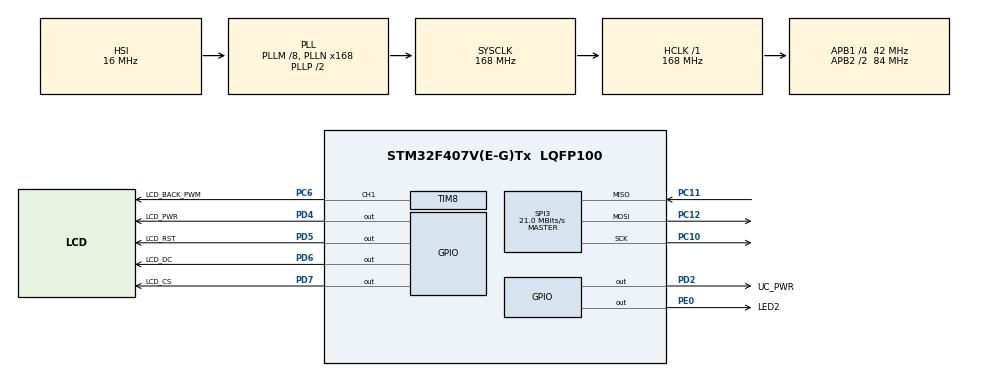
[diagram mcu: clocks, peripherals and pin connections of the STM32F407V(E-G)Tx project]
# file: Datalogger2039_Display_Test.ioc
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Mcu.Family=STM32F4
PH0-OSC_IN.Signal=RCC_OSC_IN
RCC.CortexFreq_Value=168000000
SPI3.Direction=SPI_DIRECTION_2LINES
SPI3.VirtualType=VM_MASTER
PC10.Signal=SPI3_SCK
PC11.Signal=SPI3_MISO
PC12.Signal=SPI3_MOSI
VP_IWDG_VS_IWDG.Mode=IWDG_Activate
PC6.Signal=S_TIM8_CH1
PC10.Mode=Full_Duplex_Master
PC6.GPIO_Label=LCD_BACK_PWM
PD7.Signal=GPIO_Output
PD2.GPIO_Speed=GPIO_SPEED_FREQ_VERY_HIGH
PD5.Signal=GPIO_Output
RCC.APB1CLKDivider=RCC_HCLK_DIV4
PD6.GPIO_Label=LCD_DC
RCC.SYSCLKSource=RCC_SYSCLKSOURCE_PLLCLK
ProjectManager.StackSize=0x400
PE0.GPIO_Speed=GPIO_SPEED_FREQ_VERY_HIGH
VP_TIM7_VS_ClockSourceINT.Mode=Enable_Timer
ProjectManager.TargetToolchain=STM32CubeIDE
RCC.HCLKFreq_Value=168000000
TIM8.Channel-PWM\ Generation1\ CH1=TIM_CHANNEL_1
PD4.Signal=GPIO_Output
RCC.APB2TimFreq_Value=168000000
TIM7.Period=90
RCC.LSE_VALUE=32768
RCC.AHBFreq_Value=168000000
PH0-OSC_IN.Mode=HSE-External-Oscillator
RCC.HSE_VALUE=8000000
SH.S_TIM8_CH1.0=TIM8_CH1,PWM Generation1 CH1
PC12.Mode=Full_Duplex_Master
TIM7.Prescaler=16799
board=custom
RCC.VCOOutputFreq_Value=336000000
PD7.GPIO_Speed=GPIO_SPEED_FREQ_VERY_HIGH
RCC.APB2Freq_Value=84000000
SPI3.CalculateBaudRate=21.0 MBits/s
PD4.GPIO_Label=LCD_PWR
PD4.GPIO_Speed=GPIO_SPEED_FREQ_VERY_HIGH
PH1-OSC_OUT.Signal=RCC_OSC_OUT
Mcu.Name=STM32F407V(E-G)Tx
PE0.Signal=GPIO_Output
PD7.GPIO_Label=LCD_CS
TIM8.Period=1023
PH1-OSC_OUT.Mode=HSE-External-Oscillator
RCC.48MHZClocksFreq_Value=84000000
RCC.SYSCLKFreq_VALUE=168000000
Mcu.Package=LQFP100
SPI3.Mode=SPI_MODE_MASTER
PD5.GPIO_Label=LCD_RST
ProjectManager.HeapSize=0x200
PC11.Mode=Full_Duplex_Master
PE0.GPIO_Label=LED2
RCC.HSI_VALUE=16000000
NVIC.PriorityGroup=NVIC_PRIORITYGROUP_4
TIM8.Prescaler=1249
RCC.APB2CLKDivider=RCC_HCLK_DIV2
RCC.PLLM=8
RCC.PLLN=168
IWDG.Prescaler=IWDG_PRESCALER_32
RCC.APB1TimFreq_Value=84000000
PD5.GPIO_Speed=GPIO_SPEED_FREQ_VERY_HIGH
PD2.Signal=GPIO_Output
PD6.Signal=GPIO_Output
RCC.APB1Freq_Value=42000000
PD6.GPIO_Speed=GPIO_SPEED_FREQ_VERY_HIGH
PC6.GPIO_Speed=GPIO_SPEED_FREQ_VERY_HIGH
NVIC.TIM7_IRQn=true\:0\:0\:false\:false\:true\:true\:true
PD2.GPIO_Label=UC_PWR

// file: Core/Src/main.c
/* USER CODE BEGIN Header */
/**
 ******************************************************************************
 * @file           : main.c
 * @brief          : Main program body
 ******************************************************************************
 * @attention
 *
 * <h2><center>&copy; Copyright (c) 2021 STMicroelectronics.
 * All rights reserved.</center></h2>
 *
 * This software component is licensed by ST under BSD 3-Clause license,
 * the "License"; You may not use this file except in compliance with the
 * License. You may obtain a copy of the License at:
 *                        opensource.org/licenses/BSD-3-Clause
 *
 ******************************************************************************
 */

/*
 * Datalogger 2039 - Display test - ILI9341 SPI 320x240
 *
 * LCD Backlight PWM: 131Hz (TIMER 8)
 */

/* USER CODE END Header */
#include "main.h"

/* USER CODE BEGIN Includes */
#include "IWDG_Delay.h"
#include "ILI9341.h"
#include "SCREEN.h"
#include <stdio.h>
#include "logo.h"
#include "DS3231.h"
/* USER CODE END Includes */

IWDG_HandleTypeDef hiwdg;

SPI_HandleTypeDef hspi3;

TIM_HandleTypeDef htim7;
TIM_HandleTypeDef htim8;

/* USER CODE BEGIN PV */
DS3231_Time_t tm1;

extern int lcd_bright_set;
extern int lcd_bright_new;
extern int lcd_bright_old;

extern int lcd_bright_max;
extern int lcd_bright_mid;
extern int lcd_bright_min;
extern int lcd_bright_off;
extern int lcd_bright_for_logo;
/* USER CODE END PV */

void SystemClock_Config(void);
static void MX_GPIO_Init(void);
static void MX_SPI3_Init(void);
static void MX_TIM8_Init(void);
static void MX_TIM7_Init(void);
static void MX_IWDG_Init(void);
/* USER CODE BEGIN PFP */
void print_clock(uint16_t x, uint16_t y, FontDef font, uint16_t color,
		uint16_t bgcolor);

extern void IWDG_delay_ms(uint32_t delay);
extern void IWDG_reset(void);
extern void user_pwm_setvalue(uint16_t value);
extern void draw_logo(const unsigned short *logo);
/* USER CODE END PFP */

/* USER CODE BEGIN 0 */
void print_clock(uint16_t x, uint16_t y, FontDef font, uint16_t color,
		uint16_t bgcolor) {
	char str[80];
	sprintf(str, "%02d:%02d:%02d", tm1.hours, tm1.minutes, tm1.seconds);
	ILI9341_WriteString(x, y, str, font, color, bgcolor);
}
/* USER CODE END 0 */

int main(void)
{

  /* MCU Configuration--------------------------------------------------------*/

  /* Reset of all peripherals, Initializes the Flash interface and the Systick. */
  HAL_Init();

  /* Configure the system clock */
  SystemClock_Config();

  /* Initialize all configured peripherals */
  MX_GPIO_Init();
  MX_SPI3_Init();
  MX_TIM8_Init();
  MX_TIM7_Init();
  MX_IWDG_Init();
  /* USER CODE BEGIN 2 */
	HAL_TIM_Base_Start_IT(&htim7);

	HAL_GPIO_WritePin(UC_PWR_GPIO_Port, UC_PWR_Pin, GPIO_PIN_SET); // uC Power On

	HAL_GPIO_WritePin(LCD_PWR_GPIO_Port, LCD_PWR_Pin, GPIO_PIN_SET);
	IWDG_delay_ms(100);

	ILI9341_Unselect();
	IWDG_delay_ms(5);
	ILI9341_Init();

	ILI9341_Unselect();
	IWDG_delay_ms(5);
	ILI9341_Init();

	user_pwm_setvalue(0);

	ILI9341_FillScreen(ILI9341_BLACK);

	draw_logo(STM32F4_logo);

	lcd_bright_set = lcd_bright_for_logo;

	while (lcd_bright_old != lcd_bright_set) {
		IWDG_delay_ms(1);
	}

	lcd_bright_set = lcd_bright_off;

	while (lcd_bright_old != lcd_bright_set) {
		IWDG_delay_ms(1);
	}

	ILI9341_FillScreen(ILI9341_BLACK);

	lcd_bright_set = lcd_bright_max;

	while (lcd_bright_old != lcd_bright_set) {
		IWDG_delay_ms(1);
	}

	tm1.date = 21;
	tm1.day = 1;
	tm1.month = 6;
	tm1.year = 21;
	tm1.hours = 12;
	tm1.minutes = 00;
	tm1.seconds = 00;

	ILI9341_FillScreen(ILI9341_RED);
	IWDG_delay_ms(500);

	ILI9341_FillScreen(ILI9341_GREEN);
	IWDG_delay_ms(500);

	ILI9341_FillScreen(ILI9341_BLUE);
	IWDG_delay_ms(500);

	draw_logo(STM32F4_logo);
  /* USER CODE END 2 */

  /* Infinite loop */
	while (1) {

    /* USER CODE BEGIN 3 */
		print_clock(220, 5, Font_11x18, ILI9341_BLACK,
		ILI9341_WHITE);
		int seconds_old = tm1.seconds;
		while (seconds_old == tm1.seconds) {
			IWDG_delay_ms(100);
		}

		if (tm1.seconds == 20) {
			lcd_bright_set = lcd_bright_mid;
		} else if (tm1.seconds == 40) {
			lcd_bright_set = lcd_bright_min;
		} else if (tm1.seconds == 0) {
			lcd_bright_set = lcd_bright_max;
		}
	}
  /* USER CODE END 3 */
}

void SystemClock_Config(void)
{
  RCC_OscInitTypeDef RCC_OscInitStruct = {0};
  RCC_ClkInitTypeDef RCC_ClkInitStruct = {0};

  /** Configure the main internal regulator output voltage
  */
  __HAL_RCC_PWR_CLK_ENABLE();
  __HAL_PWR_VOLTAGESCALING_CONFIG(PWR_REGULATOR_VOLTAGE_SCALE1);
  /** Initializes the RCC Oscillators according to the specified parameters
  * in the RCC_OscInitTypeDef structure.
  */
  RCC_OscInitStruct.OscillatorType = RCC_OSCILLATORTYPE_HSI|RCC_OSCILLATORTYPE_LSI;
  RCC_OscInitStruct.HSIState = RCC_HSI_ON;
  RCC_OscInitStruct.HSICalibrationValue = RCC_HSICALIBRATION_DEFAULT;
  RCC_OscInitStruct.LSIState = RCC_LSI_ON;
  RCC_OscInitStruct.PLL.PLLState = RCC_PLL_ON;
  RCC_OscInitStruct.PLL.PLLSource = RCC_PLLSOURCE_HSI;
  RCC_OscInitStruct.PLL.PLLM = 8;
  RCC_OscInitStruct.PLL.PLLN = 168;
  RCC_OscInitStruct.PLL.PLLP = RCC_PLLP_DIV2;
  RCC_OscInitStruct.PLL.PLLQ = 4;
  if (HAL_RCC_OscConfig(&RCC_OscInitStruct) != HAL_OK)
  {
    Error_Handler();
  }
  /** Initializes the CPU, AHB and APB buses clocks
  */
  RCC_ClkInitStruct.ClockType = RCC_CLOCKTYPE_HCLK|RCC_CLOCKTYPE_SYSCLK
                              |RCC_CLOCKTYPE_PCLK1|RCC_CLOCKTYPE_PCLK2;
  RCC_ClkInitStruct.SYSCLKSource = RCC_SYSCLKSOURCE_PLLCLK;
  RCC_ClkInitStruct.AHBCLKDivider = RCC_SYSCLK_DIV1;
  RCC_ClkInitStruct.APB1CLKDivider = RCC_HCLK_DIV4;
  RCC_ClkInitStruct.APB2CLKDivider = RCC_HCLK_DIV2;

  if (HAL_RCC_ClockConfig(&RCC_ClkInitStruct, FLASH_LATENCY_5) != HAL_OK)
  {
    Error_Handler();
  }
}

static void MX_IWDG_Init(void)
{

  hiwdg.Instance = IWDG;
  hiwdg.Init.Prescaler = IWDG_PRESCALER_32;
  hiwdg.Init.Reload = 4095;
  if (HAL_IWDG_Init(&hiwdg) != HAL_OK)
  {
    Error_Handler();
  }

}

static void MX_SPI3_Init(void)
{

  /* SPI3 parameter configuration*/
  hspi3.Instance = SPI3;
  hspi3.Init.Mode = SPI_MODE_MASTER;
  hspi3.Init.Direction = SPI_DIRECTION_2LINES;
  hspi3.Init.DataSize = SPI_DATASIZE_8BIT;
  hspi3.Init.CLKPolarity = SPI_POLARITY_LOW;
  hspi3.Init.CLKPhase = SPI_PHASE_1EDGE;
  hspi3.Init.NSS = SPI_NSS_SOFT;
  hspi3.Init.BaudRatePrescaler = SPI_BAUDRATEPRESCALER_2;
  hspi3.Init.FirstBit = SPI_FIRSTBIT_MSB;
  hspi3.Init.TIMode = SPI_TIMODE_DISABLE;
  hspi3.Init.CRCCalculation = SPI_CRCCALCULATION_DISABLE;
  hspi3.Init.CRCPolynomial = 10;
  if (HAL_SPI_Init(&hspi3) != HAL_OK)
  {
    Error_Handler();
  }

}

static void MX_TIM7_Init(void)
{

  TIM_MasterConfigTypeDef sMasterConfig = {0};

  htim7.Instance = TIM7;
  htim7.Init.Prescaler = 16799;
  htim7.Init.CounterMode = TIM_COUNTERMODE_UP;
  htim7.Init.Period = 90;
  htim7.Init.AutoReloadPreload = TIM_AUTORELOAD_PRELOAD_DISABLE;
  if (HAL_TIM_Base_Init(&htim7) != HAL_OK)
  {
    Error_Handler();
  }
  sMasterConfig.MasterOutputTrigger = TIM_TRGO_RESET;
  sMasterConfig.MasterSlaveMode = TIM_MASTERSLAVEMODE_DISABLE;
  if (HAL_TIMEx_MasterConfigSynchronization(&htim7, &sMasterConfig) != HAL_OK)
  {
    Error_Handler();
  }

}

static void MX_TIM8_Init(void)
{

  TIM_MasterConfigTypeDef sMasterConfig = {0};
  TIM_OC_InitTypeDef sConfigOC = {0};
  TIM_BreakDeadTimeConfigTypeDef sBreakDeadTimeConfig = {0};

  htim8.Instance = TIM8;
  htim8.Init.Prescaler = 1249;
  htim8.Init.CounterMode = TIM_COUNTERMODE_UP;
  htim8.Init.Period = 1023;
  htim8.Init.ClockDivision = TIM_CLOCKDIVISION_DIV1;
  htim8.Init.RepetitionCounter = 0;
  htim8.Init.AutoReloadPreload = TIM_AUTORELOAD_PRELOAD_DISABLE;
  if (HAL_TIM_PWM_Init(&htim8) != HAL_OK)
  {
    Error_Handler();
  }
  sMasterConfig.MasterOutputTrigger = TIM_TRGO_RESET;
  sMasterConfig.MasterSlaveMode = TIM_MASTERSLAVEMODE_DISABLE;
  if (HAL_TIMEx_MasterConfigSynchronization(&htim8, &sMasterConfig) != HAL_OK)
  {
    Error_Handler();
  }
  sConfigOC.OCMode = TIM_OCMODE_PWM1;
  sConfigOC.Pulse = 0;
  sConfigOC.OCPolarity = TIM_OCPOLARITY_HIGH;
  sConfigOC.OCNPolarity = TIM_OCNPOLARITY_HIGH;
  sConfigOC.OCFastMode = TIM_OCFAST_DISABLE;
  sConfigOC.OCIdleState = TIM_OCIDLESTATE_RESET;
  sConfigOC.OCNIdleState = TIM_OCNIDLESTATE_RESET;
  if (HAL_TIM_PWM_ConfigChannel(&htim8, &sConfigOC, TIM_CHANNEL_1) != HAL_OK)
  {
    Error_Handler();
  }
  sBreakDeadTimeConfig.OffStateRunMode = TIM_OSSR_DISABLE;
  sBreakDeadTimeConfig.OffStateIDLEMode = TIM_OSSI_DISABLE;
  sBreakDeadTimeConfig.LockLevel = TIM_LOCKLEVEL_OFF;
  sBreakDeadTimeConfig.DeadTime = 0;
  sBreakDeadTimeConfig.BreakState = TIM_BREAK_DISABLE;
  sBreakDeadTimeConfig.BreakPolarity = TIM_BREAKPOLARITY_HIGH;
  sBreakDeadTimeConfig.AutomaticOutput = TIM_AUTOMATICOUTPUT_DISABLE;
  if (HAL_TIMEx_ConfigBreakDeadTime(&htim8, &sBreakDeadTimeConfig) != HAL_OK)
  {
    Error_Handler();
  }
  HAL_TIM_MspPostInit(&htim8);

}

static void MX_GPIO_Init(void)
{
  GPIO_InitTypeDef GPIO_InitStruct = {0};

  /* GPIO Ports Clock Enable */
  __HAL_RCC_GPIOH_CLK_ENABLE();
  __HAL_RCC_GPIOC_CLK_ENABLE();
  __HAL_RCC_GPIOD_CLK_ENABLE();
  __HAL_RCC_GPIOE_CLK_ENABLE();

  /*Configure GPIO pin Output Level */
  HAL_GPIO_WritePin(GPIOD, UC_PWR_Pin|LCD_PWR_Pin|LCD_RST_Pin|LCD_DC_Pin
                          |LCD_CS_Pin, GPIO_PIN_RESET);

  /*Configure GPIO pin Output Level */
  HAL_GPIO_WritePin(LED2_GPIO_Port, LED2_Pin, GPIO_PIN_RESET);

  /*Configure GPIO pins : UC_PWR_Pin LCD_PWR_Pin LCD_RST_Pin LCD_DC_Pin
                           LCD_CS_Pin */
  GPIO_InitStruct.Pin = UC_PWR_Pin|LCD_PWR_Pin|LCD_RST_Pin|LCD_DC_Pin
                          |LCD_CS_Pin;
  GPIO_InitStruct.Mode = GPIO_MODE_OUTPUT_PP;
  GPIO_InitStruct.Pull = GPIO_NOPULL;
  GPIO_InitStruct.Speed = GPIO_SPEED_FREQ_VERY_HIGH;
  HAL_GPIO_Init(GPIOD, &GPIO_InitStruct);

  /*Configure GPIO pin : LED2_Pin */
  GPIO_InitStruct.Pin = LED2_Pin;
  GPIO_InitStruct.Mode = GPIO_MODE_OUTPUT_PP;
  GPIO_InitStruct.Pull = GPIO_NOPULL;
  GPIO_InitStruct.Speed = GPIO_SPEED_FREQ_VERY_HIGH;
  HAL_GPIO_Init(LED2_GPIO_Port, &GPIO_InitStruct);

}

void Error_Handler(void)
{
	__disable_irq();
	while (1) {
	}
}

/************************ (C) COPYRIGHT STMicroelectronics *****END OF FILE****/
